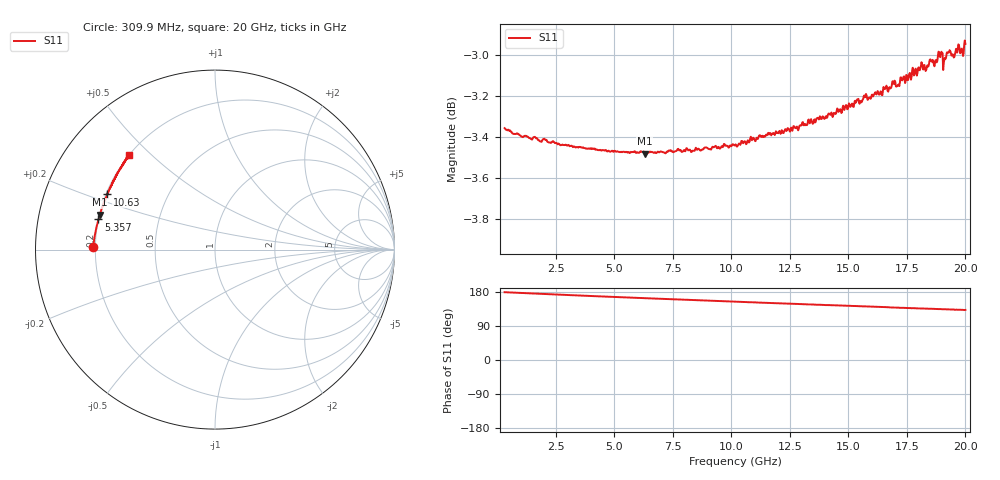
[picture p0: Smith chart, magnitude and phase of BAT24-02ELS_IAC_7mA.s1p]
! Infineon Technologies  Discrete & RF Semiconductors
! BAT24-02ELS
! IAC = 7 mA
! One-Port S-Parameters
# Hz  S  MA  R  50
!f  S11
!Hz  Mag  Ang
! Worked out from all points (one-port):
!   789 points, 309.9 MHz to 20 GHz, reference 50 ohm
!   lowest |S11| = -3.5 dB at 6.307 GHz (marker M1), VSWR 5.06, Z = 10.1 + j7.11 ohm
!   |S11| at or under -10 dB: nowhere
!   S11 on the Smith chart (normalised r, x): 309.9 MHz: 0.19, +0.01; 5.357 GHz: 0.20, +0.12; 10.63 GHz: 0.21, +0.23; 20 GHz: 0.20, +0.43
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3.0985e8  0.6795 178.9
2.783612e9  0.6733 172.1
5.232388e9  0.6704 165.8
5.357325e9  0.6705 165.5
6.30685e9  0.6699 163.1
7.70615e9  0.6716 159.8
1.015492e10  0.673 154.0
1.062969e10  0.6734 152.9
1.262869e10  0.6793 148.2
1.407796e10  0.6834 144.9
1.507746e10  0.6876 143.0
1.66017e10  0.6953 139.4
1.677661e10  0.6948 138.9
1.695152e10  0.6965 138.7
1.715142e10  0.6963 137.9
1.755122e10  0.6981 137.1
1.82009e10  0.7022 135.8
1.837581e10  0.7038 135.3
1.855072e10  0.7054 135.1
1.875062e10  0.7059 134.6
1.895052e10  0.7086 134.3
1.912544e10  0.7067 133.9
1.932534e10  0.7098 133.5
1.957521e10  0.7091 132.7
1.967516e10  0.7104 132.5
1.982509e10  0.7102 132.4
1.987506e10  0.7091 132.5
2e10  0.7122 132.2
